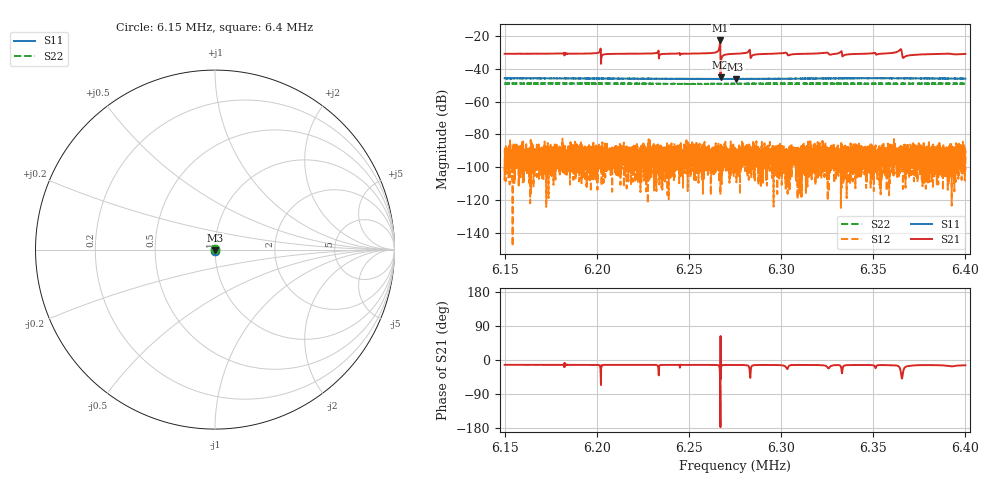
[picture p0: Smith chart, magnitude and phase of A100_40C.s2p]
!CETC41,AV3656A,ZGL00048,1.3.2
!Calibration ON (Full Solt 2-Port(Omit Isolation))
!Measurements: S11 S21 S12 S22
!2025-04-22 21:54
# Hz  S  dB  R 50.000
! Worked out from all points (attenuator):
!   6401 points, 6.15 MHz to 6.4 MHz, reference 50 ohm
!   highest |S21| = -22.65 dB at 6.267 MHz (marker M1); lowest = -45.2 dB at 6.2671 MHz (marker M2)
!   lowest |S11| = -46.2 dB at 6.2753 MHz (marker M3), VSWR 1.01, Z = 50 - j0.488 ohm
!   |S11| at or under -10 dB: start of sweep to end of sweep
!   |S22| runs from -49.4 to -48.7 dB; largest |S21 - S12| = 0.074
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6150000  -45.76 -93.5  -30.78 -12.8  -98.39 -127.5  -48.94 106.7
6191680  -45.85 -93.8  -30.68 -12.9  -89.04 -97.9  -48.91 107.7
6200977  -45.91 -94.2  -30.10 -13.2  -95.14 26.2  -48.81 107.9
6203516  -45.95 -93.8  -31.30 -13.2  -89.06 91.9  -48.91 108.0
6233359  -46.06 -94.0  -29.21 -18.2  -103.99 -86.2  -49.15 107.9
6261758  -46.15 -93.4  -30.35 -13.1  -90.83 -59.7  -49.21 107.0
6265820  -46.17 -93.2  -29.13 -13.7  -93.43 81.7  -49.18 106.8
6266953  -46.08 -93.4  -22.65 -74.2  -93.04 -159.6  -49.19 107.3
6267148  -46.17 -93.0  -45.22 63.3  -89.45 58.0  -49.17 106.8
6268359  -46.11 -93.3  -32.04 -13.5  -102.73 123.0  -49.09 106.6
6269766  -46.13 -92.9  -31.32 -13.2  -84.59 78.8  -49.14 106.9
6275000  -46.14 -92.8  -30.80 -13.1  -87.72 87.8  -49.12 106.5
6275313  -46.23 -92.7  -30.77 -13.1  -95.16 -73.1  -49.12 107.1
6281992  -46.09 -92.6  -29.76 -14.4  -90.62 103.3  -49.16 106.8
6284531  -46.14 -92.8  -31.80 -14.6  -91.36 63.4  -49.09 107.0
6316680  -45.90 -92.7  -30.70 -13.2  -100.31 88.0  -48.98 106.4
6331758  -45.74 -92.9  -30.18 -13.9  -95.27 102.0  -49.05 107.0
6334336  -45.78 -92.9  -31.60 -14.9  -102.95 173.3  -49.05 107.2
6358359  -45.76 -93.2  -30.46 -13.5  -100.52 17.9  -49.04 108.4
6364258  -45.73 -93.7  -28.65 -19.2  -93.64 175.9  -49.09 108.1
6366992  -45.82 -93.0  -32.70 -20.5  -101.81 -158.7  -49.06 108.1
6400000  -45.98 -93.4  -30.86 -14.1  -89.62 126.3  -49.10 109.0
